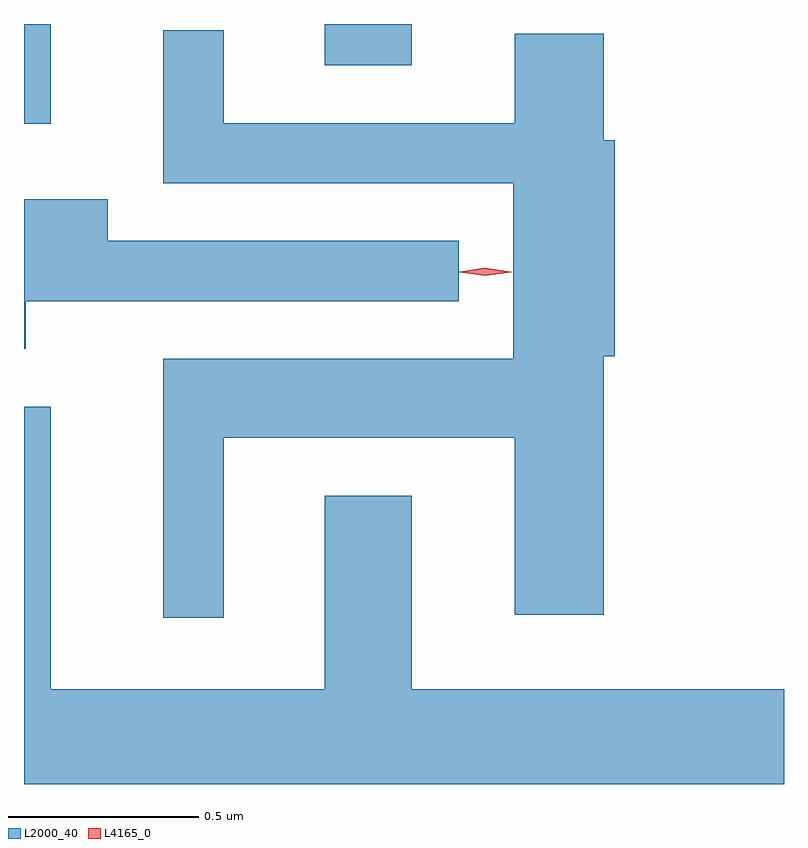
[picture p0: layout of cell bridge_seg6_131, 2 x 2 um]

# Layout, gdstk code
import gdstk
lib = gdstk.Library(unit=1e-6, precision=1e-09)
def R(c, l, rs):  # rectangles x0, y0, x1, y1
    for r in rs: c.add(gdstk.rectangle(r[:2], r[2:], *l))
def P(c, l, *ps):  # polygons
    for p in ps: c.add(gdstk.Polygon(p, *l))
L2000_40 = (2000, 40)
L4165_0 = (4165, 0)

bridge_seg6_131 = lib.new_cell('bridge_seg6_131')
R(bridge_seg6_131, L2000_40, [(1165.609,1618.393,1165.679,1618.655), (1166.401,1618.546,1166.629,1618.655)])
P(bridge_seg6_131, L2000_40, [(1166.134,1617.566),(1166.901,1617.566),(1166.901,1617.101),(1167.134,1617.101),(1167.134,1617.781),(1167.164,1617.781),(1167.164,1618.349),(1167.134,1618.349),(1167.134,1618.629),(1166.901,1618.629),(1166.901,1618.394),(1166.134,1618.394),(1166.134,1618.638),(1165.976,1618.638),(1165.976,1618.236),(1166.896,1618.236),(1166.896,1617.774),(1165.976,1617.774),(1165.976,1617.093),(1166.134,1617.093)],
  [(1165.614,1617.926),(1166.753,1617.926),(1166.753,1618.084),(1165.829,1618.084),(1165.829,1618.194),(1165.609,1618.194),(1165.609,1617.801),(1165.614,1617.801)],
  [(1167.609,1616.904),(1166.629,1616.904),(1166.629,1617.414),(1166.401,1617.414),(1166.401,1616.904),(1165.679,1616.904),(1165.679,1617.648),(1165.609,1617.648),(1165.609,1616.655),(1167.609,1616.655)])
P(bridge_seg6_131, L4165_0, [(1166.823,1617.992),(1166.754,1618.002),(1166.754,1618.002),(1166.754,1618.003),(1166.823,1618.012),(1166.891,1618.003),(1166.892,1618.002),(1166.891,1618.002)],
  [(1166.822,1617.993),(1166.757,1618.002),(1166.757,1618.003),(1166.757,1618.003),(1166.822,1618.013),(1166.887,1618.003),(1166.887,1618.003),(1166.887,1618.002)])

lib.write_gds('bridge_seg6_131.gds')
